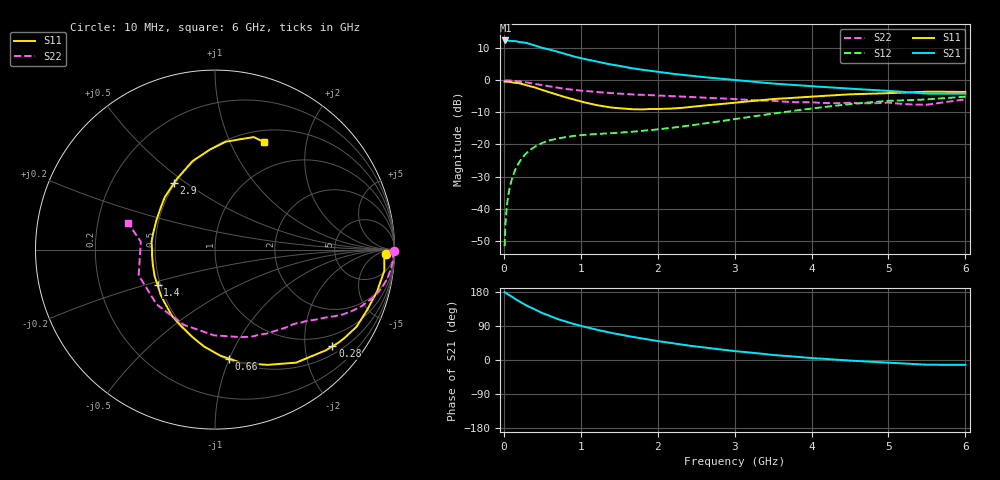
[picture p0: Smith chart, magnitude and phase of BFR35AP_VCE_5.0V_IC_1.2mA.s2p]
! Infineon Technologies  Discrete & RF Semiconductors
! BFR35AP
! VCE =  5.0 V,  IC =  1.2 mA
! Common Emitter S-Parameters:  Nov 2015
# GHz  S  MA  R  50
!  f  S11  S21  S12  S22
! GHz  MAG  ANG  MAG  ANG  MAG  ANG  MAG  ANG
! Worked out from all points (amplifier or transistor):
!   210 points, 10 MHz to 6 GHz, reference 50 ohm
!   highest |S21| = 12.4 dB at 20 MHz (marker M1)
!   |S21| within 3 dB of that: start of sweep to 621.1 MHz
!   unconditionally stable (mu >= 1): 1.384 GHz to 3.819 GHz; 5.225 GHz to end of sweep
!   at 185 MHz: K = 0.16, MSG = 19.1 dB, |S12| = -26.2 dB
!   at 1.52 GHz: K = 1.06, MAG = 8.9 dB, |S12| = -16.3 dB
!   at 6 GHz: K = 1.00, MAG = 0.3 dB, |S12| = -5.1 dB
!   S11 on the Smith chart (normalised r, x): 10 MHz: 32, -17; 280 MHz: 0.69, -2.63; 660 MHz: 0.51, -0.99; 1.4 GHz: 0.48, -0.22; 2.9 GHz: 0.49, +0.45; 6 GHz: 0.64, +1.35
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0.01  0.9516 -1.5  4.094 179.0  0.0026 88.5  0.9999 -0.5
0.02  0.9444 -2.7  4.165 177.4  0.0053 92.0  0.9907 -1.2
0.03  0.9458 -4.2  4.153 176.2  0.0082 88.1  0.9919 -1.8
0.05  0.9505 -7.2  4.133 173.8  0.014 85.1  0.9946 -3.1
0.1  0.9326 -14.5  4.084 167.7  0.0276 81.3  0.9867 -6.0
0.15  0.9113 -21.9  4.071 160.6  0.0406 76.4  0.975 -9.2
0.28  0.8473 -39.5  3.828 145.5  0.0703 66.5  0.9298 -15.7
0.3  0.8349 -42.2  3.798 143.1  0.0744 65.2  0.9208 -16.8
0.4  0.7754 -54.3  3.493 133.7  0.0917 58.7  0.8779 -20.9
0.5  0.7058 -65.5  3.193 123.9  0.1055 53.5  0.8375 -24.1
0.66  0.6119 -82.8  2.865 111.3  0.1208 47.2  0.7772 -28.2
0.8  0.5438 -96.4  2.565 101.5  0.1297 43.1  0.7325 -31.0
1.02  0.4599 -115.7  2.182 89.1  0.1397 39.3  0.6863 -34.5
1.2  0.4115 -132.0  1.959 80.1  0.1451 37.8  0.6566 -37.2
1.4  0.3757 -148.5  1.752 71.3  0.1495 37.8  0.6301 -40.1
1.62  0.356 -166.8  1.574 62.7  0.156 38.9  0.6057 -43.1
2.02  0.3565 165.0  1.341 49.4  0.1729 41.7  0.5775 -49.9
2.9  0.4346 121.9  1.036 26.0  0.2381 46.3  0.5164 -70.5
3.1  0.4574 115.3  0.984 21.7  0.2588 45.8  0.4992 -76.6
4.1  0.5658 91.1  0.793 3.9  0.375 38.1  0.4458 -117.2
5.1  0.6353 76.1  0.671 -8.3  0.4821 22.9  0.4359 -166.0
6  0.6584 65.4  0.616 -12.7  0.5552 10.8  0.5042 163.1
